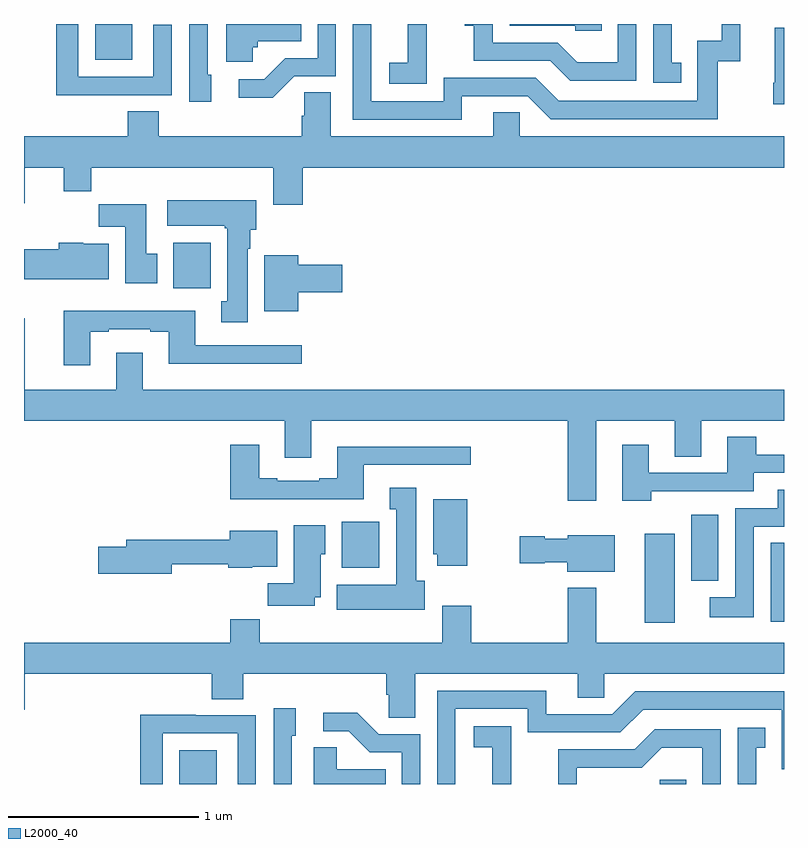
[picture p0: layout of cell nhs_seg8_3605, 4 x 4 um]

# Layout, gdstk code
import gdstk
lib = gdstk.Library(unit=1e-6, precision=1e-09)
def R(c, l, rs):  # rectangles x0, y0, x1, y1
    for r in rs: c.add(gdstk.rectangle(r[:2], r[2:], *l))
def P(c, l, *ps):  # polygons
    for p in ps: c.add(gdstk.Polygon(p, *l))
L2000_40 = (2000, 40)

nhs_seg8_3605 = lib.new_cell('nhs_seg8_3605')
R(nhs_seg8_3605, L2000_40, [(333.818,1135.9,334.015,1136.077), (336.345,1135.9,336.485,1135.923), (336.266,1136.748,336.424,1137.217), (336.929,1136.754,337,1137.169), (336.512,1136.969,336.655,1137.316), (334.673,1137.038,334.87,1137.28), (333.785,1138.508,333.982,1138.75), (333.374,1139.711,333.571,1139.9)])
P(nhs_seg8_3605, L2000_40, [(336.222,1139.9),(336.126,1139.9),(336.126,1139.698),(335.912,1139.698),(335.808,1139.802),(335.466,1139.802),(335.466,1139.9),(335.319,1139.9),(335.319,1139.891),(335.368,1139.891),(335.368,1139.706),(335.771,1139.706),(335.876,1139.601),(336.222,1139.601)],
  [(335.305,1139.52),(335.652,1139.52),(335.772,1139.4),(336.652,1139.4),(336.652,1139.703),(336.77,1139.703),(336.77,1139.9),(336.672,1139.9),(336.672,1139.811),(336.543,1139.811),(336.543,1139.496),(335.814,1139.496),(335.694,1139.616),(335.208,1139.616),(335.208,1139.493),(334.827,1139.493),(334.827,1139.9),(334.731,1139.9),(334.731,1139.397),(335.305,1139.397)],
  [(336.458,1139.697),(336.409,1139.697),(336.409,1139.9),(336.312,1139.9),(336.312,1139.592),(336.458,1139.592)],
  [(336.041,1139.9),(335.556,1139.9),(335.556,1139.892),(335.901,1139.892),(335.901,1139.865),(336.041,1139.865)],
  [(335.121,1139.791),(335.12,1139.791),(335.12,1139.9),(335.021,1139.9),(335.021,1139.695),(334.923,1139.695),(334.923,1139.585),(335.121,1139.585)],
  [(333.461,1139.526),(333.777,1139.526),(333.777,1139.896),(333.681,1139.896),(333.681,1139.622),(333.285,1139.622),(333.285,1139.9),(333.169,1139.9),(333.169,1139.525),(333.461,1139.525)],
  [(333.985,1139.634),(333.966,1139.634),(333.966,1139.9),(333.87,1139.9),(333.87,1139.49),(333.985,1139.49)],
  [(334.422,1139.625),(334.641,1139.625),(334.641,1139.9),(334.545,1139.9),(334.545,1139.721),(334.376,1139.721),(334.265,1139.61),(334.131,1139.61),(334.131,1139.513),(334.309,1139.513)],
  [(334.203,1139.778),(334.23,1139.778),(334.23,1139.81),(334.46,1139.81),(334.46,1139.9),(334.064,1139.9),(334.064,1139.702),(334.203,1139.702)],
  [(337,1139.881),(336.95,1139.881),(336.95,1139.59),(336.943,1139.59),(336.943,1139.478),(337,1139.478)],
  [(334.466,1139.144),(337,1139.144),(337,1139.308),(335.61,1139.308),(335.61,1139.435),(335.471,1139.435),(335.471,1139.308),(334.615,1139.308),(334.615,1139.54),(334.476,1139.54),(334.476,1139.417),(334.463,1139.417),(334.463,1139.308),(333.71,1139.308),(333.71,1139.441),(333.545,1139.441),(333.545,1139.308),(333,1139.308),(333,1138.956),(333.004,1138.956),(333.004,1139.144),(333.209,1139.144),(333.209,1139.02),(333.353,1139.02),(333.353,1139.144),(334.313,1139.144),(334.313,1138.95),(334.466,1138.95)],
  [(334.177,1138.718),(334.192,1138.718),(334.192,1138.818),(334.222,1138.818),(334.222,1138.972),(333.753,1138.972),(333.753,1138.838),(334.057,1138.838),(334.057,1138.825),(334.07,1138.825),(334.07,1138.442),(334.037,1138.442),(334.037,1138.329),(334.177,1138.329)],
  [(333.7,1138.692),(333.643,1138.692),(333.643,1138.951),(333.394,1138.951),(333.394,1138.832),(333.533,1138.832),(333.533,1138.536),(333.7,1138.536)],
  [(333.445,1138.744),(333.312,1138.744),(333.312,1138.75),(333.182,1138.75),(333.182,1138.714),(333,1138.714),(333,1138.556),(333.445,1138.556)],
  [(334.444,1138.487),(334.675,1138.487),(334.675,1138.634),(334.444,1138.634),(334.444,1138.684),(334.265,1138.684),(334.265,1138.388),(334.444,1138.388)],
  [(333.349,1138.281),(333.445,1138.281),(333.445,1138.293),(333.665,1138.293),(333.665,1138.281),(333.761,1138.281),(333.761,1138.112),(334.462,1138.112),(334.462,1138.209),(333.901,1138.209),(333.901,1138.39),(333.209,1138.39),(333.209,1138.104),(333.349,1138.104)],
  [(336.013,1137.812),(336.425,1137.812),(336.425,1137.622),(336.565,1137.622),(336.565,1137.812),(337,1137.812),(337,1137.976),(333.625,1137.976),(333.625,1138.171),(333.485,1138.171),(333.485,1137.976),(333.004,1137.976),(333.004,1138.351),(333,1138.351),(333,1137.812),(334.373,1137.812),(334.373,1137.618),(334.513,1137.618),(334.513,1137.812),(335.861,1137.812),(335.861,1137.39),(336.013,1137.39)],
  [(336.302,1137.441),(336.841,1137.441),(336.841,1137.537),(337,1137.537),(337,1137.634),(336.854,1137.634),(336.854,1137.727),(336.701,1137.727),(336.701,1137.537),(336.289,1137.537),(336.289,1137.685),(336.149,1137.685),(336.149,1137.39),(336.302,1137.39)],
  [(334.789,1137.579),(335.35,1137.579),(335.35,1137.676),(334.649,1137.676),(334.649,1137.508),(334.553,1137.508),(334.553,1137.495),(334.333,1137.495),(334.333,1137.508),(334.237,1137.508),(334.237,1137.685),(334.085,1137.685),(334.085,1137.398),(334.789,1137.398)],
  [(335.11,1136.97),(335.065,1136.97),(335.065,1137.46),(334.925,1137.46),(334.925,1137.347),(334.958,1137.347),(334.958,1136.95),(334.646,1136.95),(334.646,1136.816),(335.11,1136.816)],
  [(336.84,1137.255),(337,1137.255),(337,1137.448),(336.968,1137.448),(336.968,1137.351),(336.744,1137.351),(336.744,1136.884),(336.609,1136.884),(336.609,1136.777),(336.84,1136.777)],
  [(335.332,1137.4),(335.153,1137.4),(335.153,1137.108),(335.174,1137.108),(335.174,1137.048),(335.332,1137.048)],
  [(334.531,1136.882),(334.561,1136.882),(334.561,1137.108),(334.585,1137.108),(334.585,1137.262),(334.421,1137.262),(334.421,1136.956),(334.282,1136.956),(334.282,1136.838),(334.531,1136.838)],
  [(333.778,1137.057),(334.075,1137.057),(334.075,1137.038),(334.2,1137.038),(334.2,1137.044),(334.333,1137.044),(334.333,1137.232),(334.082,1137.232),(334.082,1137.185),(333.539,1137.185),(333.539,1137.149),(333.39,1137.149),(333.39,1137.007),(333.778,1137.007)],
  [(336.109,1137.208),(335.862,1137.208),(335.862,1137.19),(335.742,1137.19),(335.742,1137.203),(335.61,1137.203),(335.61,1137.061),(335.742,1137.061),(335.742,1137.068),(335.858,1137.068),(335.858,1137.017),(336.109,1137.017)],
  [(334.241,1136.768),(334.085,1136.768),(334.085,1136.644),(333,1136.644),(333,1136.292),(333.004,1136.292),(333.004,1136.48),(333.989,1136.48),(333.989,1136.347),(334.154,1136.347),(334.154,1136.48),(334.907,1136.48),(334.907,1136.371),(334.92,1136.371),(334.92,1136.248),(335.059,1136.248),(335.059,1136.48),(335.915,1136.48),(335.915,1136.353),(336.054,1136.353),(336.054,1136.48),(337,1136.48),(337,1136.644),(336.013,1136.644),(336.013,1136.932),(335.861,1136.932),(335.861,1136.644),(335.354,1136.644),(335.354,1136.839),(335.201,1136.839),(335.201,1136.644),(334.241,1136.644)],
  [(335.271,1136.295),(335.652,1136.295),(335.652,1136.172),(336.138,1136.172),(336.258,1136.292),(336.987,1136.292),(336.987,1135.977),(337,1135.977),(337,1136.388),(336.216,1136.388),(336.096,1136.268),(335.749,1136.268),(335.749,1136.391),(335.175,1136.391),(335.175,1135.9),(335.271,1135.9)],
  [(334.41,1136.154),(334.429,1136.154),(334.429,1136.299),(334.314,1136.299),(334.314,1135.9),(334.41,1135.9)],
  [(335.085,1136.163),(334.866,1136.163),(334.753,1136.276),(334.575,1136.276),(334.575,1136.178),(334.709,1136.178),(334.82,1136.067),(334.989,1136.067),(334.989,1135.9),(335.085,1135.9)],
  [(333.729,1136.166),(334.125,1136.166),(334.125,1135.9),(334.221,1135.9),(334.221,1136.262),(333.905,1136.262),(333.905,1136.264),(333.613,1136.264),(333.613,1135.9),(333.729,1135.9)],
  [(335.564,1135.997),(335.565,1135.997),(335.565,1136.203),(335.367,1136.203),(335.367,1136.093),(335.465,1136.093),(335.465,1135.9),(335.564,1135.9)],
  [(336.853,1136.091),(336.902,1136.091),(336.902,1136.197),(336.756,1136.197),(336.756,1135.9),(336.853,1135.9)],
  [(335.91,1135.986),(336.252,1135.986),(336.356,1136.09),(336.57,1136.09),(336.57,1135.9),(336.666,1135.9),(336.666,1136.187),(336.32,1136.187),(336.215,1136.082),(335.812,1136.082),(335.812,1135.9),(335.91,1135.9)],
  [(334.904,1135.978),(334.647,1135.978),(334.647,1136.093),(334.526,1136.093),(334.526,1135.9),(334.904,1135.9)])

lib.write_gds('nhs_seg8_3605.gds')
